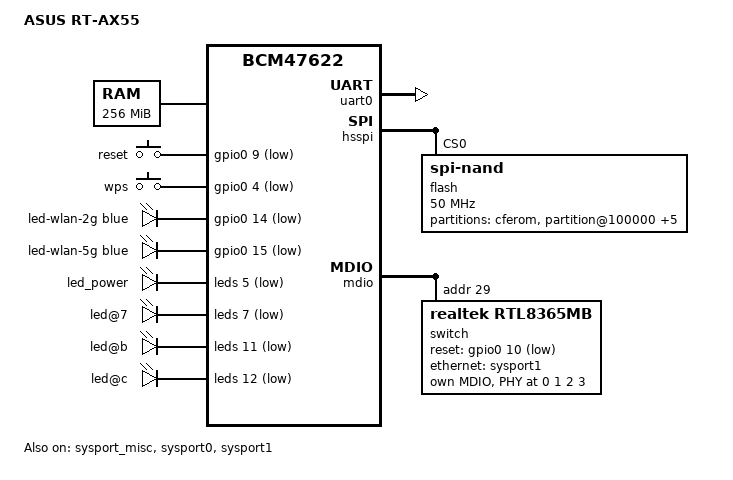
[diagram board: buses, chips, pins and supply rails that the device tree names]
// SPDX-License-Identifier: GPL-2.0-or-later OR MIT

/dts-v1/;

#include <dt-bindings/gpio/gpio.h>
#include <dt-bindings/input/input.h>
#include <dt-bindings/leds/common.h>

#include "bcm47622-cfe.dtsi"

/ {
	model = "ASUS RT-AX55";
	compatible = "asus,rt-ax55", "brcm,bcm6755", "brcm,bcm47622", "brcm,bcmbca";

	aliases {
		serial0 = &uart0;
		led-boot = &led_power;
		led-failsafe = &led_power;
		led-running = &led_power;
		led-upgrade = &led_power;
		label-mac-device = &sysport1;
	};

	/*
	 * CFE loads this DTB from the firmware's UBI "filestruct" volume, adds
	 * brcm_blparms (used to find the booted firmware slot) and writes its
	 * own root/ubi bootargs. CONFIG_CMDLINE_FORCE overrides those.
	 */
	chosen {
		stdout-path = "serial0:115200n8";
	};

	memory@0 {
		device_type = "memory";
		reg = <0x00000000 0x10000000>;
	};

	keys {
		compatible = "gpio-keys";

		button-reset {
			label = "reset";
			gpios = <&gpio0 9 GPIO_ACTIVE_LOW>;
			interrupts-extended = <&ext_intc 9 IRQ_TYPE_EDGE_BOTH>;
			linux,code = <KEY_RESTART>;
			debounce-interval = <60>;
		};

		button-wps {
			label = "wps";
			gpios = <&gpio0 4 GPIO_ACTIVE_LOW>;
			interrupts-extended = <&ext_intc 4 IRQ_TYPE_EDGE_BOTH>;
			linux,code = <KEY_WPS_BUTTON>;
			debounce-interval = <60>;
		};
	};

	/* The WLAN LEDs are not wired to LED controller capable pins */
	leds {
		compatible = "gpio-leds";

		led-wlan-2g {
			function = LED_FUNCTION_WLAN_2GHZ;
			color = <LED_COLOR_ID_BLUE>;
			gpios = <&gpio0 14 GPIO_ACTIVE_LOW>;
		};

		led-wlan-5g {
			function = LED_FUNCTION_WLAN_5GHZ;
			color = <LED_COLOR_ID_BLUE>;
			gpios = <&gpio0 15 GPIO_ACTIVE_LOW>;
		};
	};
};

&uart0 {
	status = "okay";
};

&hsspi {
	status = "okay";

	flash@0 {
		compatible = "spi-nand";
		reg = <0>;
		spi-max-frequency = <50000000>;

		partitions {
			compatible = "brcm,bcm4908-partitions";
			#address-cells = <1>;
			#size-cells = <1>;

			partition@0 {
				label = "cferom";
				reg = <0x0000000 0x0100000>;
				read-only;

				nvmem-layout {
					compatible = "fixed-layout";
					#address-cells = <1>;
					#size-cells = <1>;

					/* CFE NVRAM_DATA (0x10580) ucaBaseMacAddr */
					base_mac_addr: mac@106a0 {
						reg = <0x106a0 0x6>;
					};
				};
			};

			/*
			 * Two pureUBI firmware slots. The parser names the one
			 * CFE booted (from brcm_blparms NAND_RFS_OFS) "firmware",
			 * the other one "backup".
			 */
			partition@100000 {
				compatible = "brcm,bcm4908-firmware";
				reg = <0x0100000 0x3300000>;
			};

			partition@3400000 {
				compatible = "brcm,bcm4908-firmware";
				reg = <0x3400000 0x3300000>;
			};

			/* ASUS partitions, defined by the CFE NVRAM */
			partition@6700000 {
				label = "misc1";
				reg = <0x6700000 0x0400000>;
				read-only;
			};

			partition@6b00000 {
				label = "misc2";
				reg = <0x6b00000 0x0f00000>;
				read-only;
			};

			partition@7a00000 {
				label = "misc3";
				reg = <0x7a00000 0x0100000>;
				read-only;
			};

			partition@7b00000 {
				label = "asus-data";
				reg = <0x7b00000 0x0400000>;
				read-only;
			};

			/* 0x7f00000-0x8000000: reserved for the CFE bad block table */
		};
	};
};

&leds {
	status = "okay";

	led_power: led@5 {
		reg = <5>;
		function = LED_FUNCTION_POWER;
		color = <LED_COLOR_ID_BLUE>;
		active-low;
		default-state = "on";
		pinctrl-names = "default";
		pinctrl-0 = <&pins_led_05>;
	};

	led@7 {
		reg = <7>;
		function = LED_FUNCTION_WAN;
		color = <LED_COLOR_ID_BLUE>;
		active-low;
		pinctrl-names = "default";
		pinctrl-0 = <&pins_led_07>;
	};

	led@b {
		reg = <11>;
		function = LED_FUNCTION_WAN;
		color = <LED_COLOR_ID_RED>;
		active-low;
		pinctrl-names = "default";
		pinctrl-0 = <&pins_led_11>;
	};

	led@c {
		reg = <12>;
		function = LED_FUNCTION_LAN;
		color = <LED_COLOR_ID_BLUE>;
		active-low;
		pinctrl-names = "default";
		pinctrl-0 = <&pins_led_12>;
	};
};

&pinctrl {
	pins_led_05: led-05-pins {
		function = "a_per_led_05";
		groups = "a_per_led_05_grp";
	};

	pins_led_07: led-07-pins {
		function = "a_per_led_07";
		groups = "a_per_led_07_grp";
	};

	pins_led_11: led-11-pins {
		function = "a_per_led_11";
		groups = "a_per_led_11_grp";
	};

	pins_led_12: led-12-pins {
		function = "a_per_led_12";
		groups = "a_per_led_12_grp";
	};
};

/* RTL8367S RGMII pads, as programmed by the vendor bootloader */
&pins_rgmii {
	drive-strength = <14>;
	power-source = <3300>;
};

&sysport_misc {
	pinctrl-names = "default";
	pinctrl-0 = <&pins_rgmii &pins_rgmii_mdio>;

	brcm,gphy-address = <8>;
	brcm,rgmii-sysport = <1>;
	brcm,rgmii-tx-delay;
	status = "okay";
};

&mdio {
	/* ASUS runs the bus at 2.5 MHz for the RTL8367S */
	clock-frequency = <2500000>;

	switch@29 {
		compatible = "realtek,rtl8365mb";
		reg = <29>;
		reset-gpios = <&gpio0 10 GPIO_ACTIVE_LOW>;

		/* The realtek DSA driver needs this node for the internal PHYs */
		mdio {
			#address-cells = <1>;
			#size-cells = <0>;

			swphy0: ethernet-phy@0 {
				reg = <0>;
			};

			swphy1: ethernet-phy@1 {
				reg = <1>;
			};

			swphy2: ethernet-phy@2 {
				reg = <2>;
			};

			swphy3: ethernet-phy@3 {
				reg = <3>;
			};
		};

		ethernet-ports {
			#address-cells = <1>;
			#size-cells = <0>;

			ethernet-port@0 {
				reg = <0>;
				label = "lan4";
				phy-handle = <&swphy0>;
			};

			ethernet-port@1 {
				reg = <1>;
				label = "lan3";
				phy-handle = <&swphy1>;
			};

			ethernet-port@2 {
				reg = <2>;
				label = "lan2";
				phy-handle = <&swphy2>;
			};

			ethernet-port@3 {
				reg = <3>;
				label = "lan1";
				phy-handle = <&swphy3>;
			};

			ethernet-port@7 {
				reg = <7>;
				ethernet = <&sysport1>;
				phy-mode = "rgmii";
				/* SoC delays its TX clock, the switch delays its TX clock */
				tx-internal-delay-ps = <2000>;
				rx-internal-delay-ps = <0>;

				fixed-link {
					speed = <1000>;
					full-duplex;
				};
			};
		};
	};
};

&sysport0 {
	phy-mode = "gmii";
	phy-handle = <&gphy>;
	nvmem-cells = <&base_mac_addr>;
	nvmem-cell-names = "mac-address";
	openwrt,netdev-name = "wan";
	status = "okay";
};

&sysport1 {
	phy-mode = "rgmii";
	nvmem-cells = <&base_mac_addr>;
	nvmem-cell-names = "mac-address";
	status = "okay";

	fixed-link {
		speed = <1000>;
		full-duplex;
	};
};
